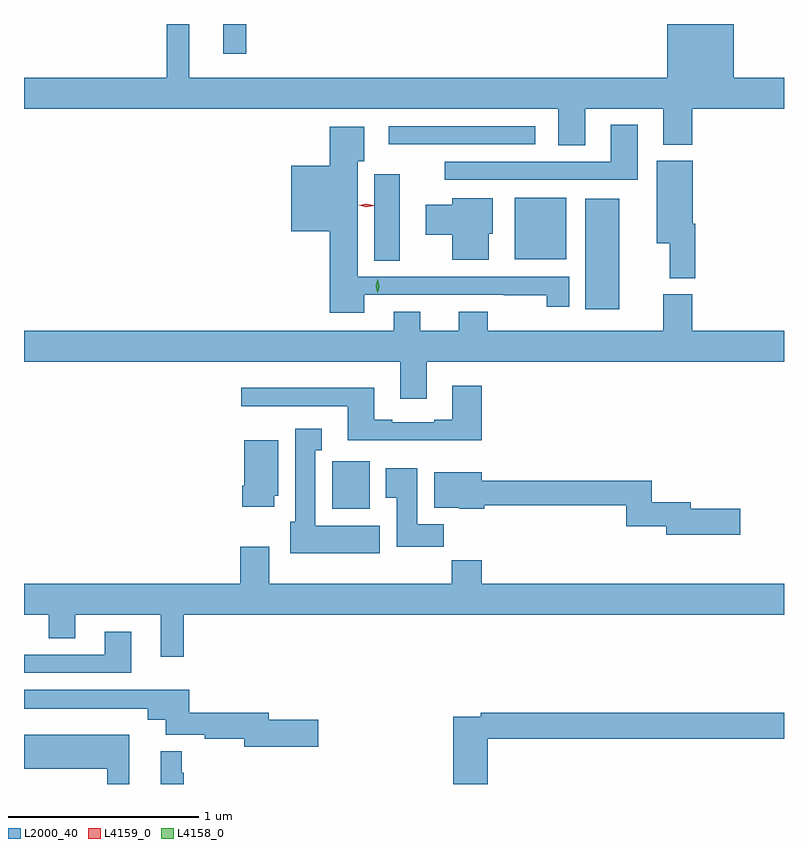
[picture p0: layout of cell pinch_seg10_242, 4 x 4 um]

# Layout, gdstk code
import gdstk
lib = gdstk.Library(unit=1e-6, precision=1e-09)
def R(c, l, rs):  # rectangles x0, y0, x1, y1
    for r in rs: c.add(gdstk.rectangle(r[:2], r[2:], *l))
def P(c, l, *ps):  # polygons
    for p in ps: c.add(gdstk.Polygon(p, *l))
L2000_40 = (2000, 40)
L4158_0 = (4158, 0)
L4159_0 = (4159, 0)

pinch_seg10_242 = lib.new_cell('pinch_seg10_242')
R(pinch_seg10_242, L2000_40, [(582.057,1310.198,582.253,1310.448), (583.388,1311.248,583.567,1311.829), (582.278,1311.505,582.412,1311.958), (583.016,1311.512,583.288,1311.835), (582.354,1312.116,583.126,1312.212), (581.483,1312.593,581.605,1312.75)])
P(pinch_seg10_242, L2000_40, [(583.387,1312.304),(583.799,1312.304),(583.799,1312.115),(583.952,1312.115),(583.952,1312.304),(584.434,1312.304),(584.434,1312.468),(584.17,1312.468),(584.17,1312.75),(583.82,1312.75),(583.82,1312.468),(581.305,1312.468),(581.305,1312.75),(581.184,1312.75),(581.184,1312.468),(580.434,1312.468),(580.434,1312.304),(583.247,1312.304),(583.247,1312.111),(583.387,1312.111)],
  [(583.663,1312.219),(583.523,1312.219),(583.523,1312.026),(582.648,1312.026),(582.648,1311.93),(583.663,1311.93)],
  [(582.226,1311.324),(582.958,1311.324),(582.958,1311.323),(583.186,1311.323),(583.186,1311.261),(583.303,1311.261),(583.303,1311.42),(582.19,1311.42),(582.19,1312.028),(582.226,1312.028),(582.226,1312.21),(582.044,1312.21),(582.044,1312.003),(581.84,1312.003),(581.84,1311.659),(582.044,1311.659),(582.044,1311.23),(582.226,1311.23)],
  [(583.967,1311.7),(583.954,1311.7),(583.954,1312.03),(583.763,1312.03),(583.763,1311.596),(583.832,1311.596),(583.832,1311.413),(583.967,1311.413)],
  [(582.88,1311.645),(582.901,1311.645),(582.901,1311.832),(582.689,1311.832),(582.689,1311.799),(582.549,1311.799),(582.549,1311.641),(582.689,1311.641),(582.689,1311.509),(582.88,1311.509)],
  [(582.553,1310.972),(584.434,1310.972),(584.434,1311.136),(583.952,1311.136),(583.952,1311.328),(583.799,1311.328),(583.799,1311.136),(582.875,1311.136),(582.875,1311.235),(582.722,1311.235),(582.722,1311.136),(582.52,1311.136),(582.52,1311.235),(582.38,1311.235),(582.38,1311.136),(580.434,1311.136),(580.434,1310.972),(582.413,1310.972),(582.413,1310.778),(582.553,1310.778)],
  [(582.842,1310.845),(582.689,1310.845),(582.689,1310.668),(582.593,1310.668),(582.593,1310.655),(582.373,1310.655),(582.373,1310.668),(582.277,1310.668),(582.277,1310.836),(581.577,1310.836),(581.577,1310.739),(582.137,1310.739),(582.137,1310.558),(582.842,1310.558)],
  [(582.307,1310.11),(581.968,1310.11),(581.968,1310.507),(582.001,1310.507),(582.001,1310.62),(581.861,1310.62),(581.861,1310.13),(581.834,1310.13),(581.834,1309.964),(582.307,1309.964)],
  [(581.752,1310.268),(581.773,1310.268),(581.773,1310.56),(581.594,1310.56),(581.594,1310.32),(581.582,1310.32),(581.582,1310.208),(581.752,1310.208)],
  [(582.644,1310.116),(582.505,1310.116),(582.505,1310.413),(582.338,1310.413),(582.338,1310.257),(582.395,1310.257),(582.395,1309.998),(582.644,1309.998)],
  [(584.203,1310.198),(583.942,1310.198),(583.942,1310.234),(583.739,1310.234),(583.739,1310.345),(582.844,1310.345),(582.844,1310.392),(582.593,1310.392),(582.593,1310.204),(582.726,1310.204),(582.726,1310.198),(582.857,1310.198),(582.857,1310.217),(583.603,1310.217),(583.603,1310.106),(583.814,1310.106),(583.814,1310.063),(584.203,1310.063)],
  [(581.275,1309.64),(584.434,1309.64),(584.434,1309.804),(582.842,1309.804),(582.842,1309.928),(582.685,1309.928),(582.685,1309.804),(581.725,1309.804),(581.725,1309.999),(581.573,1309.999),(581.573,1309.804),(580.434,1309.804),(580.434,1309.64),(580.565,1309.64),(580.565,1309.516),(580.705,1309.516),(580.705,1309.64),(581.153,1309.64),(581.153,1309.419),(581.275,1309.419)],
  [(580.999,1309.552),(580.859,1309.552),(580.859,1309.431),(580.434,1309.431),(580.434,1309.335),(580.999,1309.335)],
  [(581.983,1309.088),(581.722,1309.088),(581.722,1309.124),(581.303,1309.124),(581.303,1309.246),(580.434,1309.246),(580.434,1309.145),(581.084,1309.145),(581.084,1309.088),(581.18,1309.088),(581.18,1309.008),(581.386,1309.008),(581.386,1308.988),(581.594,1308.988),(581.594,1308.946),(581.983,1308.946)],
  [(582.875,1308.988),(584.434,1308.988),(584.434,1309.124),(582.838,1309.124),(582.838,1309.104),(582.692,1309.104),(582.692,1308.75),(582.875,1308.75)],
  [(580.987,1309.009),(580.434,1309.009),(580.434,1308.83),(580.871,1308.83),(580.871,1308.75),(580.987,1308.75)],
  [(581.275,1308.809),(581.264,1308.809),(581.264,1308.922),(581.153,1308.922),(581.153,1308.75),(581.275,1308.75)])
P(pinch_seg10_242, L4158_0, [(582.295,1311.335),(582.295,1311.335),(582.285,1311.371),(582.295,1311.407),(582.295,1311.407),(582.295,1311.407),(582.305,1311.371),(582.295,1311.335)])
P(pinch_seg10_242, L4159_0, [(582.236,1311.785),(582.197,1311.795),(582.197,1311.795),(582.197,1311.795),(582.236,1311.805),(582.276,1311.795),(582.276,1311.795),(582.276,1311.794)])

lib.write_gds('pinch_seg10_242.gds')
